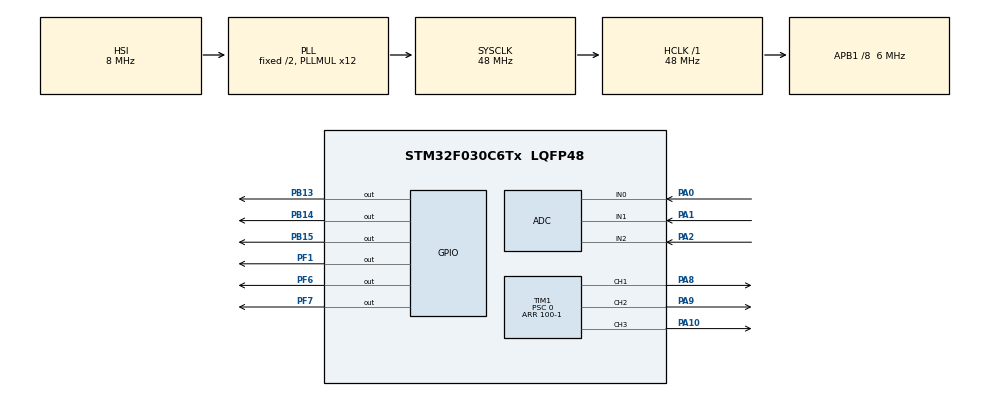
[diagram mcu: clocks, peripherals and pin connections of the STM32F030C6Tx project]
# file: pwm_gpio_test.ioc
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ADC.ContinuousConvMode=DISABLE
ADC.DMAContinuousRequests=DISABLE
ADC.EOCSelection=ADC_EOC_SEQ_CONV
ADC.ExternalTrigConv=ADC_EXTERNALTRIGCONV_T1_TRGO
Mcu.Family=STM32F0
Mcu.Name=STM32F030C6Tx
Mcu.Package=LQFP48
NVIC.ADC1_IRQn=true\:0\:0\:false\:false\:true\:true\:true
NVIC.TIM3_IRQn=true\:1\:0\:true\:false\:true\:true\:true
PA0.Mode=IN0
PA0.Signal=ADC_IN0
PA1.Mode=IN1
PA1.Signal=ADC_IN1
PA10.GPIO_Speed=GPIO_SPEED_FREQ_HIGH
PA10.Signal=S_TIM1_CH3
PA2.Mode=IN2
PA2.Signal=ADC_IN2
PA8.GPIO_Speed=GPIO_SPEED_FREQ_HIGH
PA8.Signal=S_TIM1_CH1
PA9.GPIO_Speed=GPIO_SPEED_FREQ_HIGH
PA9.Signal=S_TIM1_CH2
PB13.Signal=GPIO_Output
PB14.Signal=GPIO_Output
PB15.Signal=GPIO_Output
PF1-OSC_OUT.GPIO_Speed=GPIO_SPEED_FREQ_HIGH
PF1-OSC_OUT.Signal=GPIO_Output
PF6.PinState=GPIO_PIN_SET
PF6.Signal=GPIO_Output
PF7.PinState=GPIO_PIN_SET
PF7.Signal=GPIO_Output
ProjectManager.HeapSize=0x200
ProjectManager.StackSize=0x400
ProjectManager.TargetToolchain=SW4STM32
RCC.AHBFreq_Value=48000000
RCC.APB1CLKDivider=RCC_HCLK_DIV8
RCC.APB1Freq_Value=6000000
RCC.APB1TimFreq_Value=12000000
RCC.HCLKFreq_Value=48000000
RCC.PLLMUL=RCC_PLL_MUL12
RCC.SYSCLKFreq_VALUE=48000000
RCC.SYSCLKSource=RCC_SYSCLKSOURCE_PLLCLK
SH.S_TIM1_CH1.0=TIM1_CH1,PWM Generation1 CH1
SH.S_TIM1_CH2.0=TIM1_CH2,PWM Generation2 CH2
SH.S_TIM1_CH3.0=TIM1_CH3,PWM Generation3 CH3
TIM1.AutoReloadPreload=TIM_AUTORELOAD_PRELOAD_ENABLE
TIM1.Channel-PWM\ Generation1\ CH1=TIM_CHANNEL_1
TIM1.Channel-PWM\ Generation2\ CH2=TIM_CHANNEL_2
TIM1.Channel-PWM\ Generation3\ CH3=TIM_CHANNEL_3
TIM1.CounterMode=TIM_COUNTERMODE_CENTERALIGNED3
TIM1.Period=100-1
TIM1.Prescaler=0
TIM1.Pulse-PWM\ Generation1\ CH1=50-1
TIM1.Pulse-PWM\ Generation2\ CH2=50-1
TIM1.Pulse-PWM\ Generation3\ CH3=50-1
TIM1.TIM_MasterOutputTrigger=TIM_TRGO_UPDATE
TIM1.TIM_MasterSlaveMode=TIM_MASTERSLAVEMODE_ENABLE
TIM14.Period=9
TIM3.AutoReloadPreload=TIM_AUTORELOAD_PRELOAD_ENABLE
TIM3.Period=3
TIM3.TIM_MasterSlaveMode=TIM_MASTERSLAVEMODE_DISABLE
VP_TIM14_VS_ClockSourceINT.Mode=Enable_Timer
VP_TIM1_VS_ClockSourceINT.Mode=Internal
VP_TIM3_VS_ClockSourceITR.Mode=TriggerSource_ITR0
VP_TIM3_VS_ControllerModeClock.Mode=Clock Mode
board=custom

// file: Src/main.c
/* USER CODE BEGIN Header */
/**
  ******************************************************************************
  * @file           : main.c
  * @brief          : Main program body
  ******************************************************************************
  * @attention
  *
  * <h2><center>&copy; Copyright (c) 2020 STMicroelectronics.
  * All rights reserved.</center></h2>
  *
  * This software component is licensed by ST under BSD 3-Clause license,
  * the "License"; You may not use this file except in compliance with the
  * License. You may obtain a copy of the License at:
  *                        opensource.org/licenses/BSD-3-Clause
  *
  ******************************************************************************
  */
/* USER CODE END Header */

#include "main.h"

/* USER CODE BEGIN Includes */
#include "stm32f0xx_hal_adc.h"
#include "CurrentController.h"
/* USER CODE END Includes */

ADC_HandleTypeDef hadc;

TIM_HandleTypeDef htim1;
TIM_HandleTypeDef htim3;
TIM_HandleTypeDef htim14;

void SystemClock_Config(void);
static void MX_GPIO_Init(void);
static void MX_TIM1_Init(void);
static void MX_ADC_Init(void);
static void MX_TIM3_Init(void);
static void MX_TIM14_Init(void);

/* USER CODE BEGIN 0 */
void test1(){//test low side switching, high side open
  HAL_TIM_PWM_Stop(&htim1,TIM_CHANNEL_1);
	HAL_GPIO_WritePin(GPIOA,GPIO_PIN_8,GPIO_PIN_RESET);
	HAL_GPIO_WritePin(GPIOA,GPIO_PIN_9,GPIO_PIN_RESET);
	HAL_GPIO_WritePin(GPIOA,GPIO_PIN_10,GPIO_PIN_RESET);

	HAL_TIMEx_PWMN_Start(&htim1,TIM_CHANNEL_1);//should 1N
}

void test1_1(){ //test set duty before start
  HAL_TIM_PWM_Stop(&htim1,TIM_CHANNEL_1);
	HAL_GPIO_WritePin(GPIOA,GPIO_PIN_8,GPIO_PIN_RESET);
	HAL_GPIO_WritePin(GPIOA,GPIO_PIN_9,GPIO_PIN_RESET);
	HAL_GPIO_WritePin(GPIOA,GPIO_PIN_10,GPIO_PIN_RESET);

  __HAL_TIM_SET_COMPARE(&htim1, TIM_CHANNEL_1, 150);
	HAL_TIMEx_PWMN_Start(&htim1,TIM_CHANNEL_1);//should 1N

}

void test1_2(){ //test set duty after start
  HAL_TIM_PWM_Stop(&htim1,TIM_CHANNEL_1);
	HAL_GPIO_WritePin(GPIOA,GPIO_PIN_8,GPIO_PIN_RESET);
	HAL_GPIO_WritePin(GPIOA,GPIO_PIN_9,GPIO_PIN_RESET);
	HAL_GPIO_WritePin(GPIOA,GPIO_PIN_10,GPIO_PIN_RESET);

	HAL_TIMEx_PWMN_Start(&htim1,TIM_CHANNEL_1);//should 1N
  __HAL_TIM_SET_COMPARE(&htim1, TIM_CHANNEL_1, 150);

}

//HAL_TIMEx_PWMN_Start(&htim1,TIM_CHANNEL_1);//should 1N
void test2(){ //test high side switching, low side open
	  __HAL_TIM_SET_COMPARE(&htim1, TIM_CHANNEL_2, 0);
	    HAL_TIM_PWM_Start(&htim1,TIM_CHANNEL_1);

	    HAL_TIM_PWM_Stop(&htim1,TIM_CHANNEL_2);

	    HAL_GPIO_WritePin(GPIOB,GPIO_PIN_13,GPIO_PIN_RESET);

	    HAL_GPIO_WritePin(GPIOB,GPIO_PIN_14,GPIO_PIN_SET);

}

/******************************************************//**
 * @brief     Select the new ADC Channel
 * @param[in] adc_ch
 * @retval    None
 **********************************************************/
void ADC_Channel(uint32_t adc_ch)
{
#ifdef HALL_SENSORS
  __HAL_ADC_ENABLE_IT(&hadc, (ADC_IT_EOC | ADC_IT_EOS | ADC_IT_OVR));
#endif
  hadc.Instance->CR |= ADC_CR_ADSTP;
  while(hadc.Instance->CR & ADC_CR_ADSTP);
  /* Regular sequence configuration */
  /* Set the channel selection register from the selected channel */
  hadc.Instance->CHSELR = ADC_CHSELR_CHANNEL(adc_ch);
  hadc.Instance->CR |= ADC_CR_ADSTART;
}

uint32_t bemf_val;
uint32_t counter;
volatile uint32_t adc_buffer[100] = {0};
//volatile uint32_t start_tim[100] = {0};//commented out because program was too big otherwise
volatile uint32_t end_tim[200] = {0};

volatile uint32_t c_counter; //counter for current loop characterization
volatile uint32_t c_tim[200] = {0};

void test_ADC_read(){
	ADC_Channel(ADC_CHANNEL_2);
	adc_buffer[c_counter] = HAL_ADC_GetValue(&hadc);
}

/* USER CODE END 0 */

int main(void)
{
  /* USER CODE BEGIN 1 */
	c_counter = 0;
  /* USER CODE END 1 */

  /* MCU Configuration--------------------------------------------------------*/

  /* Reset of all peripherals, Initializes the Flash interface and the Systick. */
  HAL_Init();

  /* Configure the system clock */
  SystemClock_Config();

  /* Initialize all configured peripherals */
  MX_GPIO_Init();
  MX_TIM1_Init();
  MX_ADC_Init();
  MX_TIM3_Init();
  MX_TIM14_Init();
  /* USER CODE BEGIN 2 */

//  HAL_ADC_Start_DMA(&hadc, (uint32_t*)&adc_buffer, 3);
  	  HAL_ADC_Start_IT(&hadc);
  /* USER CODE END 2 */

  /* Infinite loop */
  /* USER CODE BEGIN WHILE */

  test2();
  HAL_TIM_Base_Start_IT(&htim3);
  HAL_TIM_Base_Start(&htim14);
  while (1)
  {
    /* USER CODE END WHILE */

    /* USER CODE BEGIN 3 */

//	  HAL_ADC_PollForConversion (&hadc, 1000);
//
//	  bemf_val = test_ADC_read();
//
//	  HAL_Delay(100);

  }
  /* USER CODE END 3 */
}

void SystemClock_Config(void)
{
  RCC_OscInitTypeDef RCC_OscInitStruct = {0};
  RCC_ClkInitTypeDef RCC_ClkInitStruct = {0};

  /** Initializes the CPU, AHB and APB busses clocks
  */
  RCC_OscInitStruct.OscillatorType = RCC_OSCILLATORTYPE_HSI|RCC_OSCILLATORTYPE_HSI14;
  RCC_OscInitStruct.HSIState = RCC_HSI_ON;
  RCC_OscInitStruct.HSI14State = RCC_HSI14_ON;
  RCC_OscInitStruct.HSICalibrationValue = RCC_HSICALIBRATION_DEFAULT;
  RCC_OscInitStruct.HSI14CalibrationValue = 16;
  RCC_OscInitStruct.PLL.PLLState = RCC_PLL_ON;
  RCC_OscInitStruct.PLL.PLLSource = RCC_PLLSOURCE_HSI;
  RCC_OscInitStruct.PLL.PLLMUL = RCC_PLL_MUL12;
  RCC_OscInitStruct.PLL.PREDIV = RCC_PREDIV_DIV1;
  if (HAL_RCC_OscConfig(&RCC_OscInitStruct) != HAL_OK)
  {
    Error_Handler();
  }
  /** Initializes the CPU, AHB and APB busses clocks
  */
  RCC_ClkInitStruct.ClockType = RCC_CLOCKTYPE_HCLK|RCC_CLOCKTYPE_SYSCLK
                              |RCC_CLOCKTYPE_PCLK1;
  RCC_ClkInitStruct.SYSCLKSource = RCC_SYSCLKSOURCE_PLLCLK;
  RCC_ClkInitStruct.AHBCLKDivider = RCC_SYSCLK_DIV1;
  RCC_ClkInitStruct.APB1CLKDivider = RCC_HCLK_DIV8;

  if (HAL_RCC_ClockConfig(&RCC_ClkInitStruct, FLASH_LATENCY_1) != HAL_OK)
  {
    Error_Handler();
  }
}

static void MX_ADC_Init(void)
{

  ADC_ChannelConfTypeDef sConfig = {0};

  /** Configure the global features of the ADC (Clock, Resolution, Data Alignment and number of conversion)
  */
  hadc.Instance = ADC1;
  hadc.Init.ClockPrescaler = ADC_CLOCK_ASYNC_DIV1;
  hadc.Init.Resolution = ADC_RESOLUTION_12B;
  hadc.Init.DataAlign = ADC_DATAALIGN_RIGHT;
  hadc.Init.ScanConvMode = ADC_SCAN_DIRECTION_FORWARD;
  hadc.Init.EOCSelection = ADC_EOC_SEQ_CONV;
  hadc.Init.LowPowerAutoWait = DISABLE;
  hadc.Init.LowPowerAutoPowerOff = DISABLE;
  hadc.Init.ContinuousConvMode = DISABLE;
  hadc.Init.DiscontinuousConvMode = DISABLE;
  hadc.Init.ExternalTrigConv = ADC_EXTERNALTRIGCONV_T1_TRGO;
  hadc.Init.ExternalTrigConvEdge = ADC_EXTERNALTRIGCONVEDGE_RISING;
  hadc.Init.DMAContinuousRequests = DISABLE;
  hadc.Init.Overrun = ADC_OVR_DATA_PRESERVED;
  if (HAL_ADC_Init(&hadc) != HAL_OK)
  {
    Error_Handler();
  }
  /** Configure for the selected ADC regular channel to be converted.
  */
  sConfig.Channel = ADC_CHANNEL_0;
  sConfig.Rank = ADC_RANK_CHANNEL_NUMBER;
  sConfig.SamplingTime = ADC_SAMPLETIME_1CYCLE_5;
  if (HAL_ADC_ConfigChannel(&hadc, &sConfig) != HAL_OK)
  {
    Error_Handler();
  }
  /** Configure for the selected ADC regular channel to be converted.
  */
  sConfig.Channel = ADC_CHANNEL_1;
  if (HAL_ADC_ConfigChannel(&hadc, &sConfig) != HAL_OK)
  {
    Error_Handler();
  }
  /** Configure for the selected ADC regular channel to be converted.
  */
  sConfig.Channel = ADC_CHANNEL_2;
  if (HAL_ADC_ConfigChannel(&hadc, &sConfig) != HAL_OK)
  {
    Error_Handler();
  }

}

static void MX_TIM1_Init(void)
{

  TIM_ClockConfigTypeDef sClockSourceConfig = {0};
  TIM_MasterConfigTypeDef sMasterConfig = {0};
  TIM_OC_InitTypeDef sConfigOC = {0};
  TIM_BreakDeadTimeConfigTypeDef sBreakDeadTimeConfig = {0};

  htim1.Instance = TIM1;
  htim1.Init.Prescaler = 0;
  htim1.Init.CounterMode = TIM_COUNTERMODE_CENTERALIGNED3;
  htim1.Init.Period = 100-1;
  htim1.Init.ClockDivision = TIM_CLOCKDIVISION_DIV1;
  htim1.Init.RepetitionCounter = 0;
  htim1.Init.AutoReloadPreload = TIM_AUTORELOAD_PRELOAD_ENABLE;
  if (HAL_TIM_Base_Init(&htim1) != HAL_OK)
  {
    Error_Handler();
  }
  sClockSourceConfig.ClockSource = TIM_CLOCKSOURCE_INTERNAL;
  if (HAL_TIM_ConfigClockSource(&htim1, &sClockSourceConfig) != HAL_OK)
  {
    Error_Handler();
  }
  if (HAL_TIM_PWM_Init(&htim1) != HAL_OK)
  {
    Error_Handler();
  }
  sMasterConfig.MasterOutputTrigger = TIM_TRGO_UPDATE;
  sMasterConfig.MasterSlaveMode = TIM_MASTERSLAVEMODE_ENABLE;
  if (HAL_TIMEx_MasterConfigSynchronization(&htim1, &sMasterConfig) != HAL_OK)
  {
    Error_Handler();
  }
  sConfigOC.OCMode = TIM_OCMODE_PWM1;
  sConfigOC.Pulse = 50-1;
  sConfigOC.OCPolarity = TIM_OCPOLARITY_HIGH;
  sConfigOC.OCNPolarity = TIM_OCNPOLARITY_HIGH;
  sConfigOC.OCFastMode = TIM_OCFAST_DISABLE;
  sConfigOC.OCIdleState = TIM_OCIDLESTATE_RESET;
  sConfigOC.OCNIdleState = TIM_OCNIDLESTATE_RESET;
  if (HAL_TIM_PWM_ConfigChannel(&htim1, &sConfigOC, TIM_CHANNEL_1) != HAL_OK)
  {
    Error_Handler();
  }
  if (HAL_TIM_PWM_ConfigChannel(&htim1, &sConfigOC, TIM_CHANNEL_2) != HAL_OK)
  {
    Error_Handler();
  }
  if (HAL_TIM_PWM_ConfigChannel(&htim1, &sConfigOC, TIM_CHANNEL_3) != HAL_OK)
  {
    Error_Handler();
  }
  sBreakDeadTimeConfig.OffStateRunMode = TIM_OSSR_DISABLE;
  sBreakDeadTimeConfig.OffStateIDLEMode = TIM_OSSI_DISABLE;
  sBreakDeadTimeConfig.LockLevel = TIM_LOCKLEVEL_OFF;
  sBreakDeadTimeConfig.DeadTime = 0;
  sBreakDeadTimeConfig.BreakState = TIM_BREAK_DISABLE;
  sBreakDeadTimeConfig.BreakPolarity = TIM_BREAKPOLARITY_HIGH;
  sBreakDeadTimeConfig.AutomaticOutput = TIM_AUTOMATICOUTPUT_DISABLE;
  if (HAL_TIMEx_ConfigBreakDeadTime(&htim1, &sBreakDeadTimeConfig) != HAL_OK)
  {
    Error_Handler();
  }
  HAL_TIM_MspPostInit(&htim1);

}

static void MX_TIM3_Init(void)
{

  TIM_SlaveConfigTypeDef sSlaveConfig = {0};
  TIM_MasterConfigTypeDef sMasterConfig = {0};

  htim3.Instance = TIM3;
  htim3.Init.Prescaler = 0;
  htim3.Init.CounterMode = TIM_COUNTERMODE_UP;
  htim3.Init.Period = 3;
  htim3.Init.ClockDivision = TIM_CLOCKDIVISION_DIV1;
  htim3.Init.AutoReloadPreload = TIM_AUTORELOAD_PRELOAD_ENABLE;
  if (HAL_TIM_Base_Init(&htim3) != HAL_OK)
  {
    Error_Handler();
  }
  sSlaveConfig.SlaveMode = TIM_SLAVEMODE_EXTERNAL1;
  sSlaveConfig.InputTrigger = TIM_TS_ITR0;
  if (HAL_TIM_SlaveConfigSynchro(&htim3, &sSlaveConfig) != HAL_OK)
  {
    Error_Handler();
  }
  sMasterConfig.MasterOutputTrigger = TIM_TRGO_RESET;
  sMasterConfig.MasterSlaveMode = TIM_MASTERSLAVEMODE_DISABLE;
  if (HAL_TIMEx_MasterConfigSynchronization(&htim3, &sMasterConfig) != HAL_OK)
  {
    Error_Handler();
  }

}

static void MX_TIM14_Init(void)
{

  htim14.Instance = TIM14;
  htim14.Init.Prescaler = 0;
  htim14.Init.CounterMode = TIM_COUNTERMODE_UP;
  htim14.Init.Period = 9;
  htim14.Init.ClockDivision = TIM_CLOCKDIVISION_DIV1;
  htim14.Init.AutoReloadPreload = TIM_AUTORELOAD_PRELOAD_DISABLE;
  if (HAL_TIM_Base_Init(&htim14) != HAL_OK)
  {
    Error_Handler();
  }

}

static void MX_GPIO_Init(void)
{
  GPIO_InitTypeDef GPIO_InitStruct = {0};

  /* GPIO Ports Clock Enable */
  __HAL_RCC_GPIOF_CLK_ENABLE();
  __HAL_RCC_GPIOA_CLK_ENABLE();
  __HAL_RCC_GPIOB_CLK_ENABLE();

  /*Configure GPIO pin Output Level */
  HAL_GPIO_WritePin(GPIOF, GPIO_PIN_1, GPIO_PIN_RESET);

  /*Configure GPIO pin Output Level */
  HAL_GPIO_WritePin(GPIOB, GPIO_PIN_13|GPIO_PIN_14|GPIO_PIN_15, GPIO_PIN_RESET);

  /*Configure GPIO pin Output Level */
  HAL_GPIO_WritePin(GPIOF, GPIO_PIN_6|GPIO_PIN_7, GPIO_PIN_SET);

  /*Configure GPIO pin : PF1 */
  GPIO_InitStruct.Pin = GPIO_PIN_1;
  GPIO_InitStruct.Mode = GPIO_MODE_OUTPUT_PP;
  GPIO_InitStruct.Pull = GPIO_NOPULL;
  GPIO_InitStruct.Speed = GPIO_SPEED_FREQ_HIGH;
  HAL_GPIO_Init(GPIOF, &GPIO_InitStruct);

  /*Configure GPIO pins : PB13 PB14 PB15 */
  GPIO_InitStruct.Pin = GPIO_PIN_13|GPIO_PIN_14|GPIO_PIN_15;
  GPIO_InitStruct.Mode = GPIO_MODE_OUTPUT_PP;
  GPIO_InitStruct.Pull = GPIO_NOPULL;
  GPIO_InitStruct.Speed = GPIO_SPEED_FREQ_LOW;
  HAL_GPIO_Init(GPIOB, &GPIO_InitStruct);

  /*Configure GPIO pins : PF6 PF7 */
  GPIO_InitStruct.Pin = GPIO_PIN_6|GPIO_PIN_7;
  GPIO_InitStruct.Mode = GPIO_MODE_OUTPUT_PP;
  GPIO_InitStruct.Pull = GPIO_NOPULL;
  GPIO_InitStruct.Speed = GPIO_SPEED_FREQ_LOW;
  HAL_GPIO_Init(GPIOF, &GPIO_InitStruct);

}

/* USER CODE BEGIN 4 */

//just some dummy variables to test the control loop
volatile double isamp, iref, bemf_estimation, motor_vsupply;

void HAL_ADC_ConvCpltCallback(ADC_HandleTypeDef* hadc){
  /* This is called after the conversion is completed */

	if (counter < 100)
	{
//		start_tim[counter] = __HAL_TIM_GET_COUNTER(&htim1);
		test_ADC_read();

//		PI_Iloop(isamp, iref, bemf_estimation, motor_vsupply);
//		end_tim[counter] = __HAL_TIM_GET_COUNTER(&htim1);
		counter++;
	}

}

/* USER CODE END 4 */

void Error_Handler(void)
{
}

/************************ (C) COPYRIGHT STMicroelectronics *****END OF FILE****/
